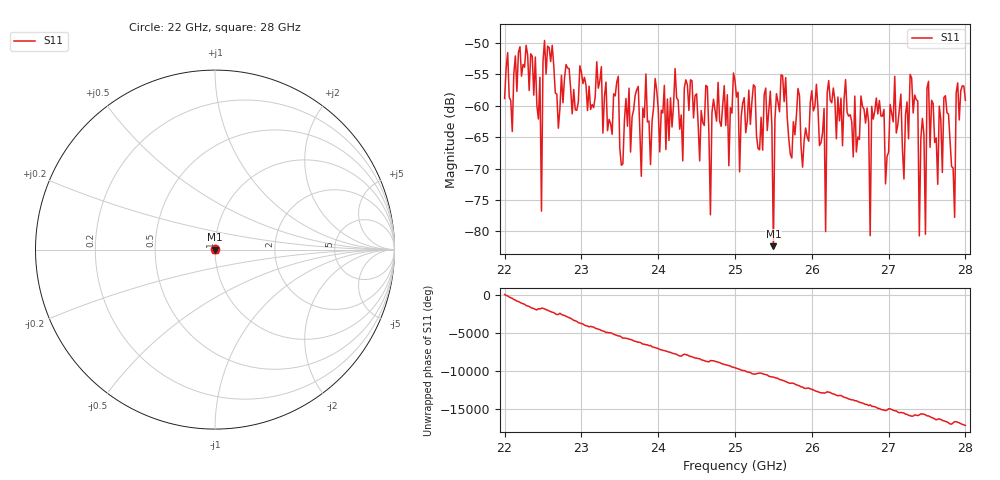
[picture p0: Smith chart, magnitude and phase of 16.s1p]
#  HZ  S  RI  R  50.00
! Rohde & Schwarz ZVA40 4Ports - Version 3.90 - 1145.1110k42 SN: 100403
! Date: 2023-10-04 11:39:36
! Measurement: S12
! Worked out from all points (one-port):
!   301 points, 22 GHz to 28 GHz, reference 50 ohm
!   lowest |S11| = -82.4 dB at 25.5 GHz (marker M1), VSWR 1.00, Z = 50 + j0.005 ohm
!   |S11| at or under -10 dB: start of sweep to end of sweep
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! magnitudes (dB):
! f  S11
! 22 GHz  -58.8
! 22.4 GHz  -52.2
! 22.48 GHz  -76.8
! 22.52 GHz  -49.6
! 22.76 GHz  -59.5
! 23.5 GHz  -66.8
! 24.26 GHz  -59.1
! 24.64 GHz  -57.0
! 24.68 GHz  -77.4
! 25 GHz  -56.0
! 25.46 GHz  -57.7
! 25.5 GHz  -82.4
! 25.54 GHz  -58.1
! 25.76 GHz  -62.5
! 26.16 GHz  -60.4
! 26.18 GHz  -80.0
! 26.22 GHz  -56.0
! 26.5 GHz  -61.4
! 26.72 GHz  -60.4
! 26.76 GHz  -80.7
! 26.78 GHz  -60.1
! 27.26 GHz  -65.3
! 27.48 GHz  -80.5
! 27.5 GHz  -57.2
! 27.74 GHz  -58.4
! 27.86 GHz  -77.8
! 27.88 GHz  -57.9
! 28 GHz  -59.1
